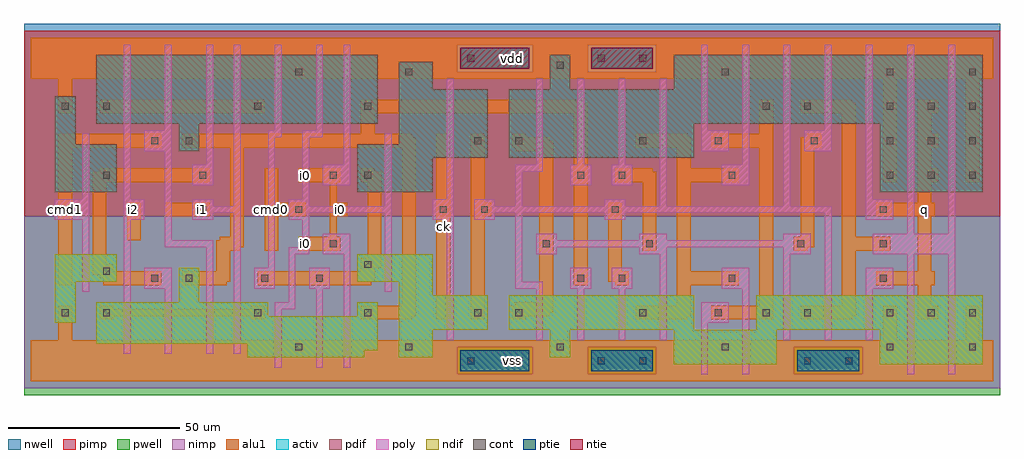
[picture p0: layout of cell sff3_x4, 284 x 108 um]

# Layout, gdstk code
import gdstk
lib = gdstk.Library(unit=1e-6, precision=1e-09)
def R(c, l, rs):  # rectangles x0, y0, x1, y1
    for r in rs: c.add(gdstk.rectangle(r[:2], r[2:], *l))
def A(c, l, x, y, w, h, nx, ny, dx, dy):  # array of equal rectangles
    R(c, l, [(x+i*dx, y+j*dy, x+i*dx+w, y+j*dy+h) for i in range(nx) for j in range(ny)])
ndif = (3, 0)
pdif = (4, 0)
ntie = (5, 0)
ptie = (6, 0)
cont = (25, 0)
pwell = (41, 0)
nwell = (42, 0)
activ = (43, 0)
pimp = (44, 0)
nimp = (45, 0)
poly = (46, 0)
alu1 = (49, 0)

sff3_x4 = lib.new_cell('sff3_x4')
R(sff3_x4, ndif, [(187,5,217,15), (247,5,277,15), (63,7,97,9), (107,7,117,15), (151,7,157,15), (63,9,101,11), (19,11,101,19), (107,15,133,25), (139,15,193,25), (211,15,277,25), (7,17,13,29), (19,19,69,23), (95,19,101,23), (43,23,49,33), (107,25,117,29), (7,29,25,37), (95,29,117,37)])
R(sff3_x4, pdif, [(7,55,25,69), (95,55,117,65), (247,55,277,75), (95,65,133,69), (139,65,193,75), (43,67,49,75), (7,69,13,83), (107,69,133,85), (19,75,101,95), (139,75,277,85), (107,85,117,93), (151,85,157,95), (187,85,277,95)])
R(sff3_x4, ntie, [(125,91,145,97), (163,91,181,97)])
R(sff3_x4, ptie, [(125,3,145,9), (163,3,181,9), (223,3,241,9)])
A(sff3_x4, cont, 77, 9, 2, 2, 1, 3, 0, 40)
A(sff3_x4, cont, 153, 9, 2, 2, 3, 1, 48, 0)
A(sff3_x4, cont, 65, 19, 2, 2, 3, 1, 32, 0)
A(sff3_x4, cont, 249, 19, 2, 2, 3, 2, 12, 40)
A(sff3_x4, cont, 247, 29, 2, 2, 1, 3, 0, 10)
A(sff3_x4, cont, 9, 49, 2, 2, 3, 1, 20, 0)
A(sff3_x4, cont, 249, 69, 2, 2, 3, 2, 12, 10)
R(sff3_x4, cont, [(127,5,129,7), (141,5,143,7), (165,5,167,7), (177,5,179,7), (225,5,227,7), (237,5,239,7), (109,9,111,11), (273,9,275,11), (9,19,11,21), (21,19,23,21), (141,19,143,21), (177,19,179,21), (199,19,201,21), (213,19,215,21), (225,19,227,21), (35,29,37,31), (45,29,47,31), (67,29,69,31), (83,29,85,31), (159,29,161,31), (171,29,173,31), (203,29,205,31), (21,31,23,33), (97,33,99,35), (87,39,89,41), (149,39,151,41), (179,39,181,41), (223,39,225,41), (119,49,121,51), (131,49,133,51), (169,49,171,51), (21,59,23,61), (49,59,51,61), (87,59,89,61), (97,59,99,61), (159,59,161,61), (171,59,173,61), (203,59,205,61), (35,69,37,71), (45,69,47,71), (129,69,131,71), (141,69,143,71), (177,69,179,71), (199,69,201,71), (227,69,229,71), (9,79,11,81), (21,79,23,81), (65,79,67,81), (97,79,99,81), (213,79,215,81), (225,79,227,81), (109,89,111,91), (201,89,203,91), (249,89,251,91), (273,89,275,91), (153,91,155,93), (127,93,129,95), (141,93,143,95), (165,93,167,95), (177,93,179,95)])
R(sff3_x4, pwell, [(-2,-4,282,48)])
R(sff3_x4, nwell, [(-2,48,282,104)])
R(sff3_x4, activ, [(125,3,145,9), (163,3,181,9), (223,3,241,9), (187,5,217,15), (247,5,277,15), (63,7,97,9), (107,7,117,15), (151,7,157,15), (63,9,101,11), (19,11,101,19), (107,15,133,25), (139,15,193,25), (211,15,277,25), (7,17,13,29), (19,19,69,23), (95,19,101,23), (43,23,49,33), (107,25,117,29), (7,29,25,37), (95,29,117,37), (7,55,25,69), (95,55,117,65), (247,55,277,75), (95,65,133,69), (139,65,193,75), (43,67,49,75), (7,69,13,83), (107,69,133,85), (19,75,101,95), (139,75,277,85), (107,85,117,93), (151,85,157,95), (187,85,277,95), (125,91,145,97), (163,91,181,97)])
R(sff3_x4, pimp, [(124,2,146,10), (162,2,182,10), (222,2,242,10), (-2,48,282,90), (-2,90,124,98), (146,90,162,98), (182,90,282,98), (-2,98,282,102)])
R(sff3_x4, nimp, [(-2,-2,282,2), (-2,2,124,10), (146,2,162,10), (182,2,222,10), (242,2,282,10), (-2,10,282,48), (124,90,146,98), (162,90,182,98)])
A(sff3_x4, poly, 147, 12, 2, 15, 3, 1, 12, 0)
A(sff3_x4, poly, 147, 63, 2, 25, 3, 1, 12, 0)
R(sff3_x4, poly, [(195,2,197,17), (207,2,209,27), (255,2,257,37), (267,2,269,37), (71,4,73,21), (83,4,85,27), (91,4,93,37), (27,8,29,47), (39,8,41,27), (51,8,53,39), (59,8,61,49), (121,12,123,47), (183,12,185,37), (219,12,221,37), (231,12,233,49), (243,12,245,27), (195,17,203,23), (71,21,77,23), (75,23,77,37), (15,26,17,47), (103,26,105,49), (33,27,41,33), (65,27,71,33), (81,27,87,33), (141,27,149,29), (157,27,163,33), (169,27,175,33), (201,27,209,33), (243,27,251,33), (141,29,143,49), (69,33,71,71), (75,37,81,39), (85,37,93,43), (147,37,153,39), (177,37,185,39), (219,37,227,39), (245,37,269,43), (39,39,53,41), (79,39,81,47), (147,39,227,41), (39,41,41,67), (147,41,153,43), (177,41,185,43), (219,41,227,43), (255,43,257,98), (267,43,269,98), (7,47,17,53), (27,47,33,53), (47,47,53,49), (75,47,81,49), (117,47,123,53), (129,47,135,49), (167,47,173,49), (243,47,251,53), (47,49,61,51), (75,49,105,51), (129,49,233,51), (47,51,53,53), (59,51,61,98), (75,51,81,53), (103,51,105,72), (129,51,135,53), (141,51,143,61), (167,51,173,53), (183,51,185,88), (219,51,221,98), (15,53,17,72), (27,53,29,98), (79,53,81,71), (121,53,123,88), (243,53,245,98), (47,57,53,63), (85,57,93,63), (157,57,163,63), (169,57,175,63), (201,57,209,63), (141,61,149,63), (51,63,53,98), (91,63,93,98), (207,63,209,98), (33,67,41,73), (195,67,203,73), (225,67,233,73), (69,71,73,73), (79,71,85,73), (39,73,41,98), (71,73,73,98), (83,73,85,98), (195,73,197,98), (231,73,233,98)])
A(sff3_x4, alu1, 258, 52, 4, 6, 1, 3, 0, 10)
A(sff3_x4, alu1, 258, 58, 6, 4, 1, 3, 0, 10)
R(sff3_x4, alu1, [(0,0,280,12), (8,12,12,22), (248,12,252,22), (272,12,276,22), (20,18,24,19), (64,18,68,19), (96,18,111,19), (118,18,122,72), (128,18,132,48), (140,18,144,19), (176,18,191,19), (198,18,216,22), (224,18,239,19), (258,18,264,22), (20,19,68,21), (96,19,112,22), (140,19,151,20), (176,19,192,22), (224,19,240,22), (140,20,152,22), (20,21,24,22), (64,21,68,22), (108,22,112,68), (141,22,152,23), (188,22,192,28), (212,22,216,68), (236,22,240,38), (258,22,262,28), (148,23,152,67), (8,28,12,68), (21,28,38,30), (44,28,57,29), (66,28,99,29), (158,28,162,78), (170,28,174,29), (188,28,206,32), (246,28,263,32), (44,29,58,32), (66,29,100,32), (168,29,174,32), (20,30,38,31), (18,31,38,32), (18,32,24,34), (54,32,58,38), (96,32,100,33), (168,32,172,52), (188,32,192,58), (258,32,262,48), (96,33,102,36), (18,34,22,58), (98,36,102,58), (54,38,61,39), (68,38,72,48), (78,38,90,42), (178,38,182,58), (222,38,226,39), (236,38,250,42), (54,39,62,41), (222,39,228,42), (28,41,32,52), (55,41,62,42), (58,42,62,68), (87,42,89,48), (224,42,228,68), (236,42,240,78), (39,48,52,52), (68,48,80,52), (87,48,92,52), (128,48,134,52), (246,48,263,52), (68,52,72,62), (87,52,89,58), (128,52,132,72), (18,58,52,61), (78,58,90,62), (96,58,102,61), (170,58,182,61), (188,58,206,62), (248,58,252,88), (272,58,276,88), (20,61,52,62), (96,61,100,62), (170,61,181,62), (188,62,192,68), (141,67,152,68), (8,68,38,72), (44,68,112,71), (140,68,152,70), (176,68,192,71), (198,68,216,72), (224,68,230,71), (140,70,151,71), (44,71,111,72), (140,71,144,72), (176,71,191,72), (226,71,230,72), (96,72,100,78), (212,72,216,82), (8,78,12,88), (20,78,68,82), (96,78,162,81), (224,78,240,81), (96,81,161,82), (224,81,239,82), (0,88,280,100)])
sff3_x4.add(gdstk.Label('i2', (30,50), layer=49, texttype=0))
sff3_x4.add(gdstk.Label('cmd1', (10,50), layer=49, texttype=0))
sff3_x4.add(gdstk.Label('i0', (80,40), layer=49, texttype=0))
sff3_x4.add(gdstk.Label('i1', (50,50), layer=49, texttype=0))
sff3_x4.add(gdstk.Label('cmd0', (70,50), layer=49, texttype=0))
sff3_x4.add(gdstk.Label('i0', (80,60), layer=49, texttype=0))
sff3_x4.add(gdstk.Label('ck', (120,45), layer=49, texttype=0))
sff3_x4.add(gdstk.Label('i0', (90,50), layer=49, texttype=0))
sff3_x4.add(gdstk.Label('vss', (140,6), layer=49, texttype=0))
sff3_x4.add(gdstk.Label('vdd', (140,94), layer=49, texttype=0))
sff3_x4.add(gdstk.Label('q', (260,50), layer=49, texttype=0))

lib.write_gds('sff3_x4.gds')
